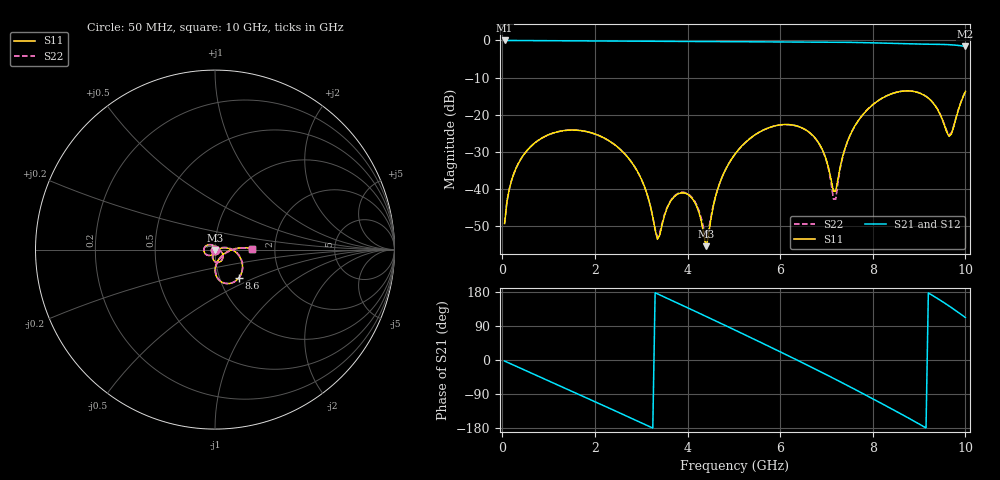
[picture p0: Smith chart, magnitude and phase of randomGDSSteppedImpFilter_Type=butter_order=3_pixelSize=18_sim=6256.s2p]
! freq	dB(S11)	phase(S11)	dB(S12)	phase(S12)
!  dB(S21)	phase(S21)	dB(S22)	phase(S22)
!S-par simulation data
#  GHz  S  DB  R 50
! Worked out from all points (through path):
!   200 points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, 50 MHz to 10 GHz, reference 50 ohm
!   highest |S21| = 0.00 dB at 50 MHz (marker M1); lowest = -1.6 dB at 10 GHz (marker M2)
!   group delay of S21, straight-line fit = 165 ps
!   lowest |S11| = -55.4 dB at 4.4 GHz (marker M3), VSWR 1.00, Z = 50.1 - j0.159 ohm
!   |S11| at or under -10 dB: start of sweep to end of sweep
!   |S22| runs from -53.0 to -13.6 dB; largest |S21 - S12| = 0
!   S11 on the Smith chart (normalised r, x): 50 MHz: 1.00, -0.01; 8.6 GHz: 1.23, -0.40; 10 GHz: 1.52, +0.02
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0.05  -49.30 -89.9  -0.00 -2.8  -0.00 -2.8  -49.30 -89.9
0.2  -37.70 -99.3  -0.02 -11.1  -0.02 -11.1  -37.70 -99.3
0.55  -29.43 -120.5  -0.05 -30.3  -0.05 -30.3  -29.43 -120.5
1.75  -24.38 172.0  -0.13 -96.2  -0.13 -96.2  -24.38 172.1
2.8  -32.94 110.5  -0.19 -154.4  -0.19 -154.4  -32.96 110.4
3.4  -52.46 -37.3  -0.23 171.9  -0.23 171.9  -51.87 -37.0
3.65  -43.02 -95.1  -0.25 157.8  -0.25 157.8  -42.84 -93.4
3.95  -41.14 -115.8  -0.27 140.7  -0.27 140.7  -40.98 -113.6
4.2  -44.71 -124.5  -0.29 126.5  -0.29 126.5  -44.36 -120.1
4.4  -55.41 -69.8  -0.30 115.1  -0.30 115.1  -52.70 -70.0
4.65  -40.12 3.2  -0.32 100.7  -0.32 100.7  -40.05 -1.3
5.05  -30.21 -12.8  -0.34 77.5  -0.34 77.5  -30.22 -14.8
5.95  -22.84 -62.0  -0.40 24.6  -0.40 24.6  -22.85 -63.3
6.7  -25.54 -101.9  -0.44 -20.4  -0.44 -20.4  -25.58 -104.2
7.2  -40.59 -29.1  -0.47 -51.3  -0.47 -51.3  -42.78 -22.9
7.35  -31.22 11.6  -0.49 -60.7  -0.49 -60.7  -31.44 16.3
7.55  -24.48 9.3  -0.52 -73.4  -0.52 -73.4  -24.53 11.6
8.35  -14.63 -34.5  -0.78 -125.2  -0.78 -125.2  -14.64 -33.8
8.6  -13.73 -49.6  -0.88 -141.7  -0.88 -141.7  -13.73 -48.9
9.25  -16.11 -85.8  -1.02 173.4  -1.02 173.4  -16.08 -85.0
9.65  -25.84 -49.2  -1.14 142.3  -1.14 142.3  -25.46 -48.9
10  -13.73 1.5  -1.63 112.1  -1.63 112.1  -13.71 0.9
